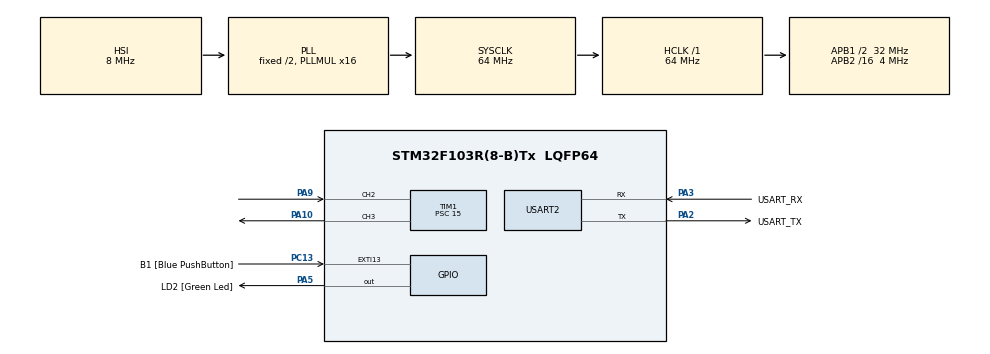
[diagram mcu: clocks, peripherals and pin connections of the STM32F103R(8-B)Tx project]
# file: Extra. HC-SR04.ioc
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Mcu.Family=STM32F1
Mcu.Name=STM32F103R(8-B)Tx
Mcu.Package=LQFP64
NVIC.EXTI15_10_IRQn=true\:0\:0\:false\:false\:true\:true\:true\:true
NVIC.PriorityGroup=NVIC_PRIORITYGROUP_4
NVIC.TIM1_CC_IRQn=true\:0\:0\:false\:false\:true\:true\:true\:true
PA10.Signal=S_TIM1_CH3
PA13.GPIO_Label=TMS
PA13.Mode=Serial_Wire
PA13.Signal=SYS_JTMS-SWDIO
PA14.GPIO_Label=TCK
PA14.Mode=Serial_Wire
PA14.Signal=SYS_JTCK-SWCLK
PA2.GPIO_Label=USART_TX
PA2.GPIO_Mode=GPIO_MODE_AF_PP
PA2.GPIO_PuPd=GPIO_NOPULL
PA2.GPIO_Speed=GPIO_SPEED_FREQ_LOW
PA2.Mode=Asynchronous
PA2.Signal=USART2_TX
PA3.GPIO_Label=USART_RX
PA3.GPIO_Mode=GPIO_MODE_AF_PP
PA3.GPIO_PuPd=GPIO_NOPULL
PA3.GPIO_Speed=GPIO_SPEED_FREQ_LOW
PA3.Mode=Asynchronous
PA3.Signal=USART2_RX
PA5.GPIO_Label=LD2 [Green Led]
PA5.GPIO_ModeDefaultOutputPP=GPIO_MODE_OUTPUT_PP
PA5.GPIO_PuPd=GPIO_NOPULL
PA5.GPIO_Speed=GPIO_SPEED_FREQ_LOW
PA5.Signal=GPIO_Output
PA9.Signal=S_TIM1_CH2
PB3.GPIO_Label=SWO
PB3.Signal=SYS_JTDO-TRACESWO
PC13-TAMPER-RTC.GPIO_Label=B1 [Blue PushButton]
PC13-TAMPER-RTC.GPIO_PuPd=GPIO_NOPULL
PC13-TAMPER-RTC.Signal=GPXTI13
ProjectManager.HeapSize=0x200
ProjectManager.StackSize=0x400
ProjectManager.TargetToolchain=STM32CubeIDE
RCC.AHBFreq_Value=64000000
RCC.APB1CLKDivider=RCC_HCLK_DIV2
RCC.APB1Freq_Value=32000000
RCC.APB1TimFreq_Value=64000000
RCC.APB2CLKDivider=RCC_HCLK_DIV16
RCC.APB2Freq_Value=4000000
RCC.APB2TimFreq_Value=8000000
RCC.HCLKFreq_Value=64000000
RCC.PLLMUL=RCC_PLL_MUL16
RCC.RTCClockSelection=RCC_RTCCLKSOURCE_LSE
RCC.SYSCLKFreq_VALUE=64000000
RCC.SYSCLKSource=RCC_SYSCLKSOURCE_PLLCLK
RCC.USBFreq_Value=64000000
SH.S_TIM1_CH2.0=TIM1_CH2,Input_Capture2_from_TI2
SH.S_TIM1_CH3.0=TIM1_CH3,PWM Generation3 CH3
TIM1.Channel-Input_Capture2_from_TI2=TIM_CHANNEL_2
TIM1.Channel-PWM\ Generation3\ CH3=TIM_CHANNEL_3
TIM1.Period=49999
TIM1.Prescaler=15
TIM1.Pulse-PWM\ Generation3\ CH3=5
USART2.VirtualMode=VM_ASYNC
board=NUCLEO-F103RB

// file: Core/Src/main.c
/* USER CODE BEGIN Header */
/**
  ******************************************************************************
  * @file           : main.c
  * @brief          : Main program body
  ******************************************************************************
  * @attention
  *
  * Copyright (c) 2025 STMicroelectronics.
  * All rights reserved.
  *
  * This software is licensed under terms that can be found in the LICENSE file
  * in the root directory of this software component.
  * If no LICENSE file comes with this software, it is provided AS-IS.
  *
  ******************************************************************************
  */
/* USER CODE END Header */
#include "main.h"

/* USER CODE BEGIN Includes */
#include <stdio.h>
/* USER CODE END Includes */

TIM_HandleTypeDef htim1;

UART_HandleTypeDef huart2;

void SystemClock_Config(void);
static void MX_GPIO_Init(void);
static void MX_USART2_UART_Init(void);
static void MX_TIM1_Init(void);

/* USER CODE BEGIN 0 */
#ifdef __GNUC__
#define PUTCHAR_PROTOTYPE int __io_putchar(int ch)
#else
#define PUTCHAR_PROTOTYPE int fput(int ch, FILE *f)
#endif

PUTCHAR_PROTOTYPE
{
	if(ch == '\n')
		HAL_UART_Transmit(&huart2, (uint8_t *) "\r", 1, 0xFFFF);
	HAL_UART_Transmit(&huart2, (uint8_t *) &ch, 1, 0xFFFF);

	return ch;
}
/* USER CODE END 0 */

int main(void)
{

  /* MCU Configuration--------------------------------------------------------*/

  /* Reset of all peripherals, Initializes the Flash interface and the Systick. */
  HAL_Init();

  /* Configure the system clock */
  SystemClock_Config();

  /* Initialize all configured peripherals */
  MX_GPIO_Init();
  MX_USART2_UART_Init();
  MX_TIM1_Init();
  /* USER CODE BEGIN 2 */

  HAL_TIM_PWM_Start(&htim1, TIM_CHANNEL_3);
  HAL_TIM_IC_Start_IT(&htim1, TIM_CHANNEL_2);

  /* USER CODE END 2 */

  /* Infinite loop */
  while (1)
  {

  }
}

void SystemClock_Config(void)
{
  RCC_OscInitTypeDef RCC_OscInitStruct = {0};
  RCC_ClkInitTypeDef RCC_ClkInitStruct = {0};

  /** Initializes the RCC Oscillators according to the specified parameters
  * in the RCC_OscInitTypeDef structure.
  */
  RCC_OscInitStruct.OscillatorType = RCC_OSCILLATORTYPE_HSI;
  RCC_OscInitStruct.HSIState = RCC_HSI_ON;
  RCC_OscInitStruct.HSICalibrationValue = RCC_HSICALIBRATION_DEFAULT;
  RCC_OscInitStruct.PLL.PLLState = RCC_PLL_ON;
  RCC_OscInitStruct.PLL.PLLSource = RCC_PLLSOURCE_HSI_DIV2;
  RCC_OscInitStruct.PLL.PLLMUL = RCC_PLL_MUL16;
  if (HAL_RCC_OscConfig(&RCC_OscInitStruct) != HAL_OK)
  {
    Error_Handler();
  }

  /** Initializes the CPU, AHB and APB buses clocks
  */
  RCC_ClkInitStruct.ClockType = RCC_CLOCKTYPE_HCLK|RCC_CLOCKTYPE_SYSCLK
                              |RCC_CLOCKTYPE_PCLK1|RCC_CLOCKTYPE_PCLK2;
  RCC_ClkInitStruct.SYSCLKSource = RCC_SYSCLKSOURCE_PLLCLK;
  RCC_ClkInitStruct.AHBCLKDivider = RCC_SYSCLK_DIV1;
  RCC_ClkInitStruct.APB1CLKDivider = RCC_HCLK_DIV2;
  RCC_ClkInitStruct.APB2CLKDivider = RCC_HCLK_DIV16;

  if (HAL_RCC_ClockConfig(&RCC_ClkInitStruct, FLASH_LATENCY_2) != HAL_OK)
  {
    Error_Handler();
  }
}

static void MX_TIM1_Init(void)
{

  TIM_MasterConfigTypeDef sMasterConfig = {0};
  TIM_IC_InitTypeDef sConfigIC = {0};
  TIM_OC_InitTypeDef sConfigOC = {0};
  TIM_BreakDeadTimeConfigTypeDef sBreakDeadTimeConfig = {0};

  htim1.Instance = TIM1;
  htim1.Init.Prescaler = 15;
  htim1.Init.CounterMode = TIM_COUNTERMODE_UP;
  htim1.Init.Period = 49999;
  htim1.Init.ClockDivision = TIM_CLOCKDIVISION_DIV1;
  htim1.Init.RepetitionCounter = 0;
  htim1.Init.AutoReloadPreload = TIM_AUTORELOAD_PRELOAD_DISABLE;
  if (HAL_TIM_IC_Init(&htim1) != HAL_OK)
  {
    Error_Handler();
  }
  if (HAL_TIM_PWM_Init(&htim1) != HAL_OK)
  {
    Error_Handler();
  }
  sMasterConfig.MasterOutputTrigger = TIM_TRGO_RESET;
  sMasterConfig.MasterSlaveMode = TIM_MASTERSLAVEMODE_DISABLE;
  if (HAL_TIMEx_MasterConfigSynchronization(&htim1, &sMasterConfig) != HAL_OK)
  {
    Error_Handler();
  }
  sConfigIC.ICPolarity = TIM_INPUTCHANNELPOLARITY_RISING;
  sConfigIC.ICSelection = TIM_ICSELECTION_DIRECTTI;
  sConfigIC.ICPrescaler = TIM_ICPSC_DIV1;
  sConfigIC.ICFilter = 0;
  if (HAL_TIM_IC_ConfigChannel(&htim1, &sConfigIC, TIM_CHANNEL_2) != HAL_OK)
  {
    Error_Handler();
  }
  sConfigOC.OCMode = TIM_OCMODE_PWM1;
  sConfigOC.Pulse = 5;
  sConfigOC.OCPolarity = TIM_OCPOLARITY_HIGH;
  sConfigOC.OCNPolarity = TIM_OCNPOLARITY_HIGH;
  sConfigOC.OCFastMode = TIM_OCFAST_DISABLE;
  sConfigOC.OCIdleState = TIM_OCIDLESTATE_RESET;
  sConfigOC.OCNIdleState = TIM_OCNIDLESTATE_RESET;
  if (HAL_TIM_PWM_ConfigChannel(&htim1, &sConfigOC, TIM_CHANNEL_3) != HAL_OK)
  {
    Error_Handler();
  }
  sBreakDeadTimeConfig.OffStateRunMode = TIM_OSSR_DISABLE;
  sBreakDeadTimeConfig.OffStateIDLEMode = TIM_OSSI_DISABLE;
  sBreakDeadTimeConfig.LockLevel = TIM_LOCKLEVEL_OFF;
  sBreakDeadTimeConfig.DeadTime = 0;
  sBreakDeadTimeConfig.BreakState = TIM_BREAK_DISABLE;
  sBreakDeadTimeConfig.BreakPolarity = TIM_BREAKPOLARITY_HIGH;
  sBreakDeadTimeConfig.AutomaticOutput = TIM_AUTOMATICOUTPUT_DISABLE;
  if (HAL_TIMEx_ConfigBreakDeadTime(&htim1, &sBreakDeadTimeConfig) != HAL_OK)
  {
    Error_Handler();
  }
  HAL_TIM_MspPostInit(&htim1);

}

static void MX_USART2_UART_Init(void)
{

  huart2.Instance = USART2;
  huart2.Init.BaudRate = 115200;
  huart2.Init.WordLength = UART_WORDLENGTH_8B;
  huart2.Init.StopBits = UART_STOPBITS_1;
  huart2.Init.Parity = UART_PARITY_NONE;
  huart2.Init.Mode = UART_MODE_TX_RX;
  huart2.Init.HwFlowCtl = UART_HWCONTROL_NONE;
  huart2.Init.OverSampling = UART_OVERSAMPLING_16;
  if (HAL_UART_Init(&huart2) != HAL_OK)
  {
    Error_Handler();
  }

}

static void MX_GPIO_Init(void)
{
  GPIO_InitTypeDef GPIO_InitStruct = {0};

  /* GPIO Ports Clock Enable */
  __HAL_RCC_GPIOC_CLK_ENABLE();
  __HAL_RCC_GPIOA_CLK_ENABLE();
  __HAL_RCC_GPIOB_CLK_ENABLE();

  /*Configure GPIO pin Output Level */
  HAL_GPIO_WritePin(LD2_GPIO_Port, LD2_Pin, GPIO_PIN_RESET);

  /*Configure GPIO pin : B1_Pin */
  GPIO_InitStruct.Pin = B1_Pin;
  GPIO_InitStruct.Mode = GPIO_MODE_IT_RISING;
  GPIO_InitStruct.Pull = GPIO_NOPULL;
  HAL_GPIO_Init(B1_GPIO_Port, &GPIO_InitStruct);

  /*Configure GPIO pin : LD2_Pin */
  GPIO_InitStruct.Pin = LD2_Pin;
  GPIO_InitStruct.Mode = GPIO_MODE_OUTPUT_PP;
  GPIO_InitStruct.Pull = GPIO_NOPULL;
  GPIO_InitStruct.Speed = GPIO_SPEED_FREQ_LOW;
  HAL_GPIO_Init(LD2_GPIO_Port, &GPIO_InitStruct);

  /* EXTI interrupt init*/
  HAL_NVIC_SetPriority(EXTI15_10_IRQn, 0, 0);
  HAL_NVIC_EnableIRQ(EXTI15_10_IRQn);

}

/* USER CODE BEGIN 4 */
uint8_t		rise_flag		= 0;
uint16_t	ic_start		= 0;
uint16_t	ic_end			= 0;
uint16_t	echo_duration	= 0;
float		distance		= 0.0;

void HAL_TIM_IC_CaptureCallback(TIM_HandleTypeDef *htim)
{
	if (htim->Instance == TIM1 && htim->Channel == HAL_TIM_ACTIVE_CHANNEL_2)
	{
		if (rise_flag == 0)
		{
			ic_start = HAL_TIM_ReadCapturedValue(htim, TIM_CHANNEL_2);
			rise_flag = 1;
			__HAL_TIM_SET_CAPTUREPOLARITY(htim, TIM_CHANNEL_2, TIM_INPUTCHANNELPOLARITY_FALLING);
		}
		else
		{
			ic_end =  HAL_TIM_ReadCapturedValue(htim, TIM_CHANNEL_2);
			rise_flag = 0;
			__HAL_TIM_SET_CAPTUREPOLARITY(htim, TIM_CHANNEL_2, TIM_INPUTCHANNELPOLARITY_RISING);

			echo_duration = (ic_end - ic_start) * 2; // us
		}
	}
	distance = echo_duration / 58.0;
	printf("Distance: %.2fcm\n", distance);
}
/* USER CODE END 4 */

void Error_Handler(void)
{
  __disable_irq();
  while (1)
  {
  }
}
